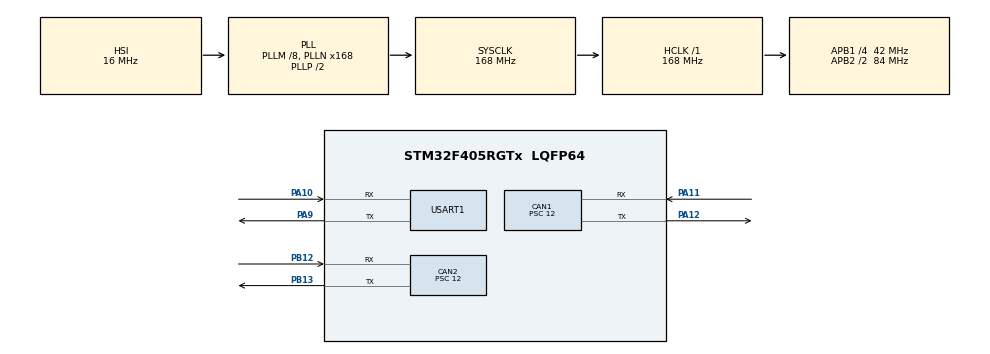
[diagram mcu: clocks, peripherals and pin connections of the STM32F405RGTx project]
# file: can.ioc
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CAN1.BS1=CAN_BS1_4TQ
CAN1.BS2=CAN_BS2_2TQ
CAN1.CalculateBaudRate=500000
CAN1.CalculateTimeBit=2000
CAN1.CalculateTimeQuantum=285.7142857142857
CAN1.Mode=CAN_MODE_NORMAL
CAN1.Prescaler=12
CAN2.BS1=CAN_BS1_4TQ
CAN2.BS2=CAN_BS2_2TQ
CAN2.CalculateBaudRate=500000
CAN2.CalculateTimeBit=2000
CAN2.CalculateTimeQuantum=285.7142857142857
CAN2.Mode=CAN_MODE_NORMAL
CAN2.Prescaler=12
FREERTOS.Tasks01=defaultTask,0,128,StartDefaultTask,Default,NULL,Dynamic,NULL,NULL;can1,-3,128,StartTask02,Default,NULL,Dynamic,NULL,NULL;can2,-3,128,StartTask03,Default,NULL,Dynamic,NULL,NULL
Mcu.Family=STM32F4
Mcu.Name=STM32F405RGTx
Mcu.Package=LQFP64
NVIC.PriorityGroup=NVIC_PRIORITYGROUP_4
NVIC.TIM5_IRQn=true\:15\:0\:false\:false\:true\:false\:false\:true\:true
NVIC.TimeBase=TIM5_IRQn
NVIC.TimeBaseIP=TIM5
PA10.Mode=Asynchronous
PA10.Signal=USART1_RX
PA11.Mode=CAN_Activate
PA11.Signal=CAN1_RX
PA12.Mode=CAN_Activate
PA12.Signal=CAN1_TX
PA13.Mode=Serial_Wire
PA13.Signal=SYS_JTMS-SWDIO
PA14.Mode=Serial_Wire
PA14.Signal=SYS_JTCK-SWCLK
PA9.Mode=Asynchronous
PA9.Signal=USART1_TX
PB12.Mode=CAN_Activate
PB12.Signal=CAN2_RX
PB13.Mode=CAN_Activate
PB13.Signal=CAN2_TX
PC14-OSC32_IN.Mode=LSE-External-Oscillator
PC14-OSC32_IN.Signal=RCC_OSC32_IN
PC15-OSC32_OUT.Mode=LSE-External-Oscillator
PC15-OSC32_OUT.Signal=RCC_OSC32_OUT
PH0-OSC_IN.Mode=HSE-External-Oscillator
PH0-OSC_IN.Signal=RCC_OSC_IN
PH1-OSC_OUT.Mode=HSE-External-Oscillator
PH1-OSC_OUT.Signal=RCC_OSC_OUT
ProjectManager.HeapSize=0x200
ProjectManager.StackSize=0x400
ProjectManager.TargetToolchain=MDK-ARM V5.32
RCC.48MHZClocksFreq_Value=84000000
RCC.AHBFreq_Value=168000000
RCC.APB1CLKDivider=RCC_HCLK_DIV4
RCC.APB1Freq_Value=42000000
RCC.APB1TimFreq_Value=84000000
RCC.APB2CLKDivider=RCC_HCLK_DIV2
RCC.APB2Freq_Value=84000000
RCC.APB2TimFreq_Value=168000000
RCC.CortexFreq_Value=168000000
RCC.HCLKFreq_Value=168000000
RCC.HSE_VALUE=25000000
RCC.HSI_VALUE=16000000
RCC.PLLM=8
RCC.PLLN=168
RCC.SYSCLKFreq_VALUE=168000000
RCC.SYSCLKSource=RCC_SYSCLKSOURCE_PLLCLK
RCC.VCOOutputFreq_Value=336000000
USART1.VirtualMode=VM_ASYNC
VP_FREERTOS_VS_CMSIS_V1.Mode=CMSIS_V1
VP_SYS_VS_tim5.Mode=TIM5
board=custom

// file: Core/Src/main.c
/* USER CODE BEGIN Header */
/**
  ******************************************************************************
  * @file           : main.c
  * @brief          : Main program body
  ******************************************************************************
  * @attention
  *
  * Copyright (c) 2024 STMicroelectronics.
  * All rights reserved.
  *
  * This software is licensed under terms that can be found in the LICENSE file
  * in the root directory of this software component.
  * If no LICENSE file comes with this software, it is provided AS-IS.
  *
  ******************************************************************************
  */
/* USER CODE END Header */
#include "main.h"
#include "cmsis_os.h"

/* USER CODE BEGIN Includes */
#include "stdio.h"
#include "can.h"
/* USER CODE END Includes */

CAN_HandleTypeDef hcan1;
CAN_HandleTypeDef hcan2;

UART_HandleTypeDef huart1;

osThreadId defaultTaskHandle;
osThreadId can1Handle;
osThreadId can2Handle;

void SystemClock_Config(void);
static void MX_GPIO_Init(void);
static void MX_CAN1_Init(void);
static void MX_CAN2_Init(void);
static void MX_USART1_UART_Init(void);
void StartDefaultTask(void const * argument);
void StartTask02(void const * argument);
void StartTask03(void const * argument);

/* USER CODE BEGIN 0 */

int fputc(int ch, FILE *f)
{
	HAL_UART_Transmit(&huart1,(uint8_t *)&ch,1,HAL_MAX_DELAY);
	return ch;
}

int fgetc(FILE *f)
{
	uint8_t ch;
	HAL_UART_Receive(&huart1,(uint8_t *)&ch,1,HAL_MAX_DELAY);
	return ch;
}
/* USER CODE END 0 */

int main(void)
{

  /* MCU Configuration--------------------------------------------------------*/

  /* Reset of all peripherals, Initializes the Flash interface and the Systick. */
  HAL_Init();

  /* Configure the system clock */
  SystemClock_Config();

  /* Initialize all configured peripherals */
  MX_GPIO_Init();
  MX_CAN1_Init();
  MX_CAN2_Init();
  MX_USART1_UART_Init();

  /* Create the thread(s) */
  /* definition and creation of defaultTask */
  osThreadDef(defaultTask, StartDefaultTask, osPriorityNormal, 0, 128);
  defaultTaskHandle = osThreadCreate(osThread(defaultTask), NULL);

  /* definition and creation of can1 */
  osThreadDef(can1, StartTask02, osPriorityIdle, 0, 128);
  can1Handle = osThreadCreate(osThread(can1), NULL);

  /* definition and creation of can2 */
  osThreadDef(can2, StartTask03, osPriorityIdle, 0, 128);
  can2Handle = osThreadCreate(osThread(can2), NULL);

  /* Start scheduler */
  osKernelStart();
  /* We should never get here as control is now taken by the scheduler */
  /* Infinite loop */
  while (1)
  {

  }
}

void SystemClock_Config(void)
{
  RCC_OscInitTypeDef RCC_OscInitStruct = {0};
  RCC_ClkInitTypeDef RCC_ClkInitStruct = {0};

  /** Configure the main internal regulator output voltage
  */
  __HAL_RCC_PWR_CLK_ENABLE();
  __HAL_PWR_VOLTAGESCALING_CONFIG(PWR_REGULATOR_VOLTAGE_SCALE1);

  /** Initializes the RCC Oscillators according to the specified parameters
  * in the RCC_OscInitTypeDef structure.
  */
  RCC_OscInitStruct.OscillatorType = RCC_OSCILLATORTYPE_HSI;
  RCC_OscInitStruct.HSIState = RCC_HSI_ON;
  RCC_OscInitStruct.HSICalibrationValue = RCC_HSICALIBRATION_DEFAULT;
  RCC_OscInitStruct.PLL.PLLState = RCC_PLL_ON;
  RCC_OscInitStruct.PLL.PLLSource = RCC_PLLSOURCE_HSI;
  RCC_OscInitStruct.PLL.PLLM = 8;
  RCC_OscInitStruct.PLL.PLLN = 168;
  RCC_OscInitStruct.PLL.PLLP = RCC_PLLP_DIV2;
  RCC_OscInitStruct.PLL.PLLQ = 4;
  if (HAL_RCC_OscConfig(&RCC_OscInitStruct) != HAL_OK)
  {
    Error_Handler();
  }

  /** Initializes the CPU, AHB and APB buses clocks
  */
  RCC_ClkInitStruct.ClockType = RCC_CLOCKTYPE_HCLK|RCC_CLOCKTYPE_SYSCLK
                              |RCC_CLOCKTYPE_PCLK1|RCC_CLOCKTYPE_PCLK2;
  RCC_ClkInitStruct.SYSCLKSource = RCC_SYSCLKSOURCE_PLLCLK;
  RCC_ClkInitStruct.AHBCLKDivider = RCC_SYSCLK_DIV1;
  RCC_ClkInitStruct.APB1CLKDivider = RCC_HCLK_DIV4;
  RCC_ClkInitStruct.APB2CLKDivider = RCC_HCLK_DIV2;

  if (HAL_RCC_ClockConfig(&RCC_ClkInitStruct, FLASH_LATENCY_5) != HAL_OK)
  {
    Error_Handler();
  }
}

static void MX_CAN1_Init(void)
{

  hcan1.Instance = CAN1;
  hcan1.Init.Prescaler = 12;
  hcan1.Init.Mode = CAN_MODE_NORMAL;
  hcan1.Init.SyncJumpWidth = CAN_SJW_1TQ;
  hcan1.Init.TimeSeg1 = CAN_BS1_4TQ;
  hcan1.Init.TimeSeg2 = CAN_BS2_2TQ;
  hcan1.Init.TimeTriggeredMode = DISABLE;
  hcan1.Init.AutoBusOff = DISABLE;
  hcan1.Init.AutoWakeUp = DISABLE;
  hcan1.Init.AutoRetransmission = DISABLE;
  hcan1.Init.ReceiveFifoLocked = DISABLE;
  hcan1.Init.TransmitFifoPriority = DISABLE;
  if (HAL_CAN_Init(&hcan1) != HAL_OK)
  {
    Error_Handler();
  }

}

static void MX_CAN2_Init(void)
{

  hcan2.Instance = CAN2;
  hcan2.Init.Prescaler = 12;
  hcan2.Init.Mode = CAN_MODE_NORMAL;
  hcan2.Init.SyncJumpWidth = CAN_SJW_1TQ;
  hcan2.Init.TimeSeg1 = CAN_BS1_4TQ;
  hcan2.Init.TimeSeg2 = CAN_BS2_2TQ;
  hcan2.Init.TimeTriggeredMode = DISABLE;
  hcan2.Init.AutoBusOff = DISABLE;
  hcan2.Init.AutoWakeUp = DISABLE;
  hcan2.Init.AutoRetransmission = DISABLE;
  hcan2.Init.ReceiveFifoLocked = DISABLE;
  hcan2.Init.TransmitFifoPriority = DISABLE;
  if (HAL_CAN_Init(&hcan2) != HAL_OK)
  {
    Error_Handler();
  }

}

static void MX_USART1_UART_Init(void)
{

  huart1.Instance = USART1;
  huart1.Init.BaudRate = 115200;
  huart1.Init.WordLength = UART_WORDLENGTH_8B;
  huart1.Init.StopBits = UART_STOPBITS_1;
  huart1.Init.Parity = UART_PARITY_NONE;
  huart1.Init.Mode = UART_MODE_TX_RX;
  huart1.Init.HwFlowCtl = UART_HWCONTROL_NONE;
  huart1.Init.OverSampling = UART_OVERSAMPLING_16;
  if (HAL_UART_Init(&huart1) != HAL_OK)
  {
    Error_Handler();
  }

}

static void MX_GPIO_Init(void)
{

  /* GPIO Ports Clock Enable */
  __HAL_RCC_GPIOC_CLK_ENABLE();
  __HAL_RCC_GPIOH_CLK_ENABLE();
  __HAL_RCC_GPIOB_CLK_ENABLE();
  __HAL_RCC_GPIOA_CLK_ENABLE();

}

void StartDefaultTask(void const * argument)
{
  for(;;)
  {
    osDelay(1);
  }
}

void StartTask02(void const * argument)
{
  /* USER CODE BEGIN StartTask02 */
		HAL_CAN_Start(&hcan1);      //一定要先CAN_Start

		FilterInit();

		uint32_t TxID = 0x555;
		uint8_t TxLength = 4;
		uint8_t TxData[] = {0x11, 0x22, 0x33, 0x44};

		uint32_t RxID;
		uint8_t RxLength;
		uint8_t RxData[8];

		CAN1_Transmit(TxID, TxLength, TxData);
		printf("TxID: %d\r\n",TxID);
		printf("TxLength: %d\r\n",TxLength);
  /* Infinite loop */
  for(;;)
  {
		CAN1_Receive(&RxID, &RxLength, RxData);

  }
  /* USER CODE END StartTask02 */
}

void StartTask03(void const * argument)
{
  /* USER CODE BEGIN StartTask03 */
		HAL_CAN_Start(&hcan2);

		FilterInit();

		uint32_t TxID = 0x666;
		uint8_t TxLength = 4;
		uint8_t TxData[] = {0x34, 0x45, 0x56, 0x67};

		uint32_t RxID;
		uint8_t RxLength;
		uint8_t RxData[8];

		CAN2_Transmit(TxID, TxLength, TxData);
		printf("TxID: %d\r\n",TxID);
		printf("TxLength: %d\r\n",TxLength);
  /* Infinite loop */
  for(;;)
  {
    CAN2_Receive(&RxID, &RxLength, RxData);
  }
  /* USER CODE END StartTask03 */
}

void HAL_TIM_PeriodElapsedCallback(TIM_HandleTypeDef *htim)
{
  if (htim->Instance == TIM5) {
    HAL_IncTick();
  }
}

void Error_Handler(void)
{
  __disable_irq();
  while (1)
  {
  }
}
